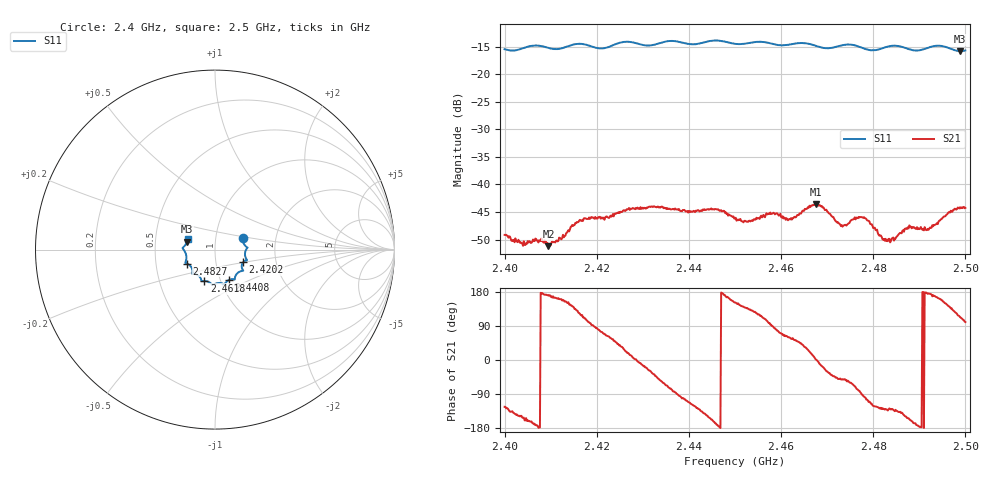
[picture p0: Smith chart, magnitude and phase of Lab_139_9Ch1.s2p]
# Hz S RI R 50
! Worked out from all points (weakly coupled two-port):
!   601 points, 2.4 GHz to 2.5 GHz, reference 50 ohm
!   highest |S21| = -43.58 dB at 2.4675 GHz (marker M1); lowest = -51.2 dB at 2.4095 GHz (marker M2)
!   lowest |S11| = -15.8 dB at 2.4988 GHz (marker M3), VSWR 1.38, Z = 36.4 + j3.33 ohm
!   |S11| at or under -10 dB: start of sweep to end of sweep
!   S12 and S22 are empty: the file has one direction only
!   S11 on the Smith chart (normalised r, x): 2.4 GHz: 1.36, +0.17; 2.4202 GHz: 1.36, -0.20; 2.4408 GHz: 1.10, -0.38; 2.4618 GHz: 0.84, -0.30; 2.4827 GHz: 0.72, -0.12; 2.5 GHz: 0.73, +0.09
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2.4e9  0.1562 0.0619  -0.00193 -0.00291  0 0  0 0
2.404e9  0.1706 0.019  -0.00247 -0.00127  0 0  0 0
2.4095e9  0.1726 -0.00179  -0.00272 0.000484  0 0  0 0
2.416667e9  0.1781 -0.0594  -0.00215 0.00415  0 0  0 0
2.420167e9  0.1569 -0.0705  0.000693 0.00485  0 0  0 0
2.433333e9  0.112 -0.152  0.00411 -0.00477  0 0  0 0
2.440833e9  0.0789 -0.1687  -0.00271 -0.00498  0 0  0 0
2.446e9  0.0516 -0.1949  -0.00588 -0.000964  0 0  0 0
2.45e9  0.0279 -0.186  -0.00432 0.00232  0 0  0 0
2.453e9  -0.00108 -0.1913  -0.00327 0.00334  0 0  0 0
2.458e9  -0.024 -0.1869  1.52e-05 0.00544  0 0  0 0
2.461833e9  -0.0599 -0.1752  0.00248 0.00419  0 0  0 0
2.466667e9  -0.0768 -0.1685  0.00623 0.0017  0 0  0 0
2.4675e9  -0.0787 -0.1625  0.00662 0.000225  0 0  0 0
2.473167e9  -0.1223 -0.1352  0.00266 -0.00334  0 0  0 0
2.478e9  -0.1258 -0.1151  -0.000574 -0.00501  0 0  0 0
2.482667e9  -0.1569 -0.0778  -0.00203 -0.0025  0 0  0 0
2.483333e9  -0.161 -0.0763  -0.00209 -0.00244  0 0  0 0
2.487667e9  -0.16 -0.0539  -0.00358 -0.00177  0 0  0 0
2.492e9  -0.1738 -0.00171  -0.00387 0.000287  0 0  0 0
2.498833e9  -0.1551 0.0446  -0.00245 0.0057  0 0  0 0
2.5e9  -0.1518 0.0613  -0.00107 0.00603  0 0  0 0
